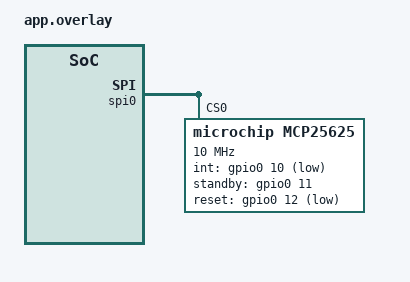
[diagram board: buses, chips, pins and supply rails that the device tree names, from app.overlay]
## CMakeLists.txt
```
# Copyright (c) 2026 CANBusRP2040 contributors
# SPDX-License-Identifier: Apache-2.0

cmake_minimum_required(VERSION 3.20.0)

find_package(Zephyr REQUIRED HINTS $ENV{ZEPHYR_BASE})
project(slcan_test)

target_sources(app PRIVATE src/main.c)
```

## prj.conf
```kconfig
CONFIG_ZTEST=y
CONFIG_CAN=y
CONFIG_EMUL=y
CONFIG_GPIO=y
CONFIG_SPI=y
CONFIG_SLCAN=y
CONFIG_SLCAN_RX_QUEUE_SIZE=4
CONFIG_LOG=y
CONFIG_ZTEST_THREAD_PRIORITY=0
CONFIG_CAN_ACCEPT_RTR=y
```

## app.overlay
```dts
/*
 * Copyright (c) 2026 CANBusRP2040 contributors
 *
 * SPDX-License-Identifier: Apache-2.0
 */

#include <zephyr/dt-bindings/gpio/gpio.h>

/ {
	chosen {
		zephyr,canbus = &mcp25625;
	};
};

&spi0 {
	mcp25625: can@0 {
		compatible = "microchip,mcp25625";
		reg = <0>;
		spi-max-frequency = <10000000>;
		osc-freq = <16000000>;
		int-gpios = <&gpio0 10 GPIO_ACTIVE_LOW>;
		standby-gpios = <&gpio0 11 GPIO_ACTIVE_HIGH>;
		reset-gpios = <&gpio0 12 GPIO_ACTIVE_LOW>;
		bitrate = <1000000>;
	};
};
```

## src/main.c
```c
/*
 * Copyright (c) 2026 CANBusRP2040 contributors
 *
 * SPDX-License-Identifier: Apache-2.0
 *
 * Tests of the slcan protocol engine, running on top of the MCP25625 driver
 * and its emulator.
 */

#include <stdio.h>
#include <string.h>

#include <zephyr/drivers/can.h>
#include <zephyr/drivers/emul.h>
#include <zephyr/kernel.h>
#include <zephyr/ztest.h>

#include <canbus_rp2040/drivers/can/mcp25625_emul.h>
#include <canbus_rp2040/slcan.h>

#define MCP25625_NODE DT_NODELABEL(mcp25625)

#define REG_CANCTRL 0x0F
#define REG_CNF1    0x2A

#define OPMODE_NORMAL      0
#define OPMODE_LISTEN_ONLY 3
#define OPMODE_CONFIG      4

static const struct device *const can_dev = DEVICE_DT_GET(MCP25625_NODE);
static const struct emul *const emul = EMUL_DT_GET(MCP25625_NODE);

static struct slcan slcan;
static char out[1024];
static size_t out_len;
static int events[SLCAN_EVENT_ERROR + 1];

static void capture(const uint8_t *data, size_t len, void *user_data)
{
	ARG_UNUSED(user_data);

	zassert_true(out_len + len < sizeof(out), "output buffer overflow");
	memcpy(&out[out_len], data, len);
	out_len += len;
	out[out_len] = '\0';
}

static void event_cb(enum slcan_event event, void *user_data)
{
	ARG_UNUSED(user_data);

	events[event]++;
}

static void cmd(const char *str)
{
	slcan_receive(&slcan, (const uint8_t *)str, strlen(str));
}

static void clear_output(void)
{
	out_len = 0;
	out[0] = '\0';
}

#define expect_output(expected)                                                                    \
	do {                                                                                       \
		zassert_str_equal(out, expected, "got \"%s\"", out);                               \
		clear_output();                                                                    \
	} while (0)

/* Wait for the driver to deliver frames and forward them */
static void process(void)
{
	k_msleep(5);
	(void)slcan_process(&slcan);
}

static void *slcan_setup(void)
{
	zassert_true(device_is_ready(can_dev));
	zassert_ok(slcan_init(&slcan, can_dev, capture, NULL));
	slcan_set_event_callback(&slcan, event_cb, NULL);

	return NULL;
}

static void slcan_before(void *fixture)
{
	ARG_UNUSED(fixture);

	cmd("C\rS8\rZ0\rA1\rM0\r");
	mcp25625_emul_set_tx_ack(emul, true);
	mcp25625_emul_set_error_counters(emul, 0, 0);
	mcp25625_emul_clear_tx_frames(emul);
	(void)slcan_process(&slcan);
	clear_output();
	memset(events, 0, sizeof(events));
}

ZTEST(slcan, test_format_frame)
{
	const struct {
		struct can_frame frame;
		bool ts;
		uint16_t ts_ms;
		const char *expected;
	} cases[] = {
		{{.id = 0x123, .dlc = 2, .data = {0xDE, 0xAD}}, false, 0, "t1232DEAD\r"},
		{{.id = 0x7FF, .dlc = 0}, false, 0, "t7FF0\r"},
		{{.id = 0x0204ABCD,
		  .flags = CAN_FRAME_IDE,
		  .dlc = 8,
		  .data = {0, 1, 2, 3, 0xFC, 0xFD, 0xFE, 0xFF}},
		 false,
		 0,
		 "T0204ABCD800010203FCFDFEFF\r"},
		{{.id = 0x12, .flags = CAN_FRAME_RTR, .dlc = 4}, false, 0, "r0124\r"},
		{{.id = 0x1, .flags = CAN_FRAME_IDE | CAN_FRAME_RTR, .dlc = 0},
		 false,
		 0,
		 "R000000010\r"},
		{{.id = 0x123, .dlc = 1, .data = {0x55}}, true, 59999, "t123155EA5F\r"},
	};
	char buf[SLCAN_MTU + 1];

	for (size_t i = 0; i < ARRAY_SIZE(cases); i++) {
		int len = slcan_format_frame(&cases[i].frame, cases[i].ts, cases[i].ts_ms, buf,
					     sizeof(buf));

		zassert_equal(len, strlen(cases[i].expected), "case %zu", i);
		zassert_str_equal(buf, cases[i].expected, "case %zu: \"%s\"", i, buf);
	}

	/* The longest message fits into SLCAN_MTU */
	const struct can_frame longest = {.id = 0x1FFFFFFF, .flags = CAN_FRAME_IDE, .dlc = 8};

	zassert_true(slcan_format_frame(&longest, true, 0, buf, sizeof(buf)) > 0);
	zassert_equal(slcan_format_frame(&longest, true, 0, buf, 10), -ENOSPC);
}

ZTEST(slcan, test_parse_frame)
{
	struct can_frame f;

	zassert_ok(slcan_parse_frame("t1232DEAD", 9, &f));
	zassert_equal(f.id, 0x123);
	zassert_equal(f.flags, 0);
	zassert_equal(f.dlc, 2);
	zassert_equal(f.data[0], 0xDE);
	zassert_equal(f.data[1], 0xAD);

	zassert_ok(slcan_parse_frame("T1FFFFFFF1ab", 12, &f));
	zassert_equal(f.id, 0x1FFFFFFF);
	zassert_equal(f.flags, CAN_FRAME_IDE);
	zassert_equal(f.data[0], 0xAB);

	zassert_ok(slcan_parse_frame("r7FF8", 5, &f));
	zassert_equal(f.flags, CAN_FRAME_RTR);
	zassert_equal(f.dlc, 8);

	zassert_ok(slcan_parse_frame("R000000010", 10, &f));
	zassert_equal(f.flags, CAN_FRAME_IDE | CAN_FRAME_RTR);

	/* Malformed commands */
	static const char *const invalid[] = {
		"t123",       /* missing DLC */
		"t1239",      /* DLC out of range */
		"t1232DEA",   /* too short */
		"t1232DEADB", /* too long */
		"t8000",      /* standard ID out of range */
		"T200000000", /* extended ID out of range */
		"t12G0",      /* invalid hex digit */
		"t1231XX",    /* invalid data */
		"r12310",     /* data in a remote frame */
		"x1230",      /* unknown frame type */
	};

	for (size_t i = 0; i < ARRAY_SIZE(invalid); i++) {
		zassert_equal(slcan_parse_frame(invalid[i], strlen(invalid[i]), &f), -EINVAL,
			      "accepted \"%s\"", invalid[i]);
	}
}

ZTEST(slcan, test_btr_conversion)
{
	uint32_t bitrate;
	uint16_t sp;

	/* Common Lawicel values for a 16 MHz SJA1000 */
	zassert_ok(slcan_btr_to_bitrate(0x03, 0x1C, &bitrate, &sp));
	zassert_equal(bitrate, 125000);
	zassert_equal(sp, 875);

	zassert_ok(slcan_btr_to_bitrate(0x00, 0x1C, &bitrate, &sp));
	zassert_equal(bitrate, 500000);

	zassert_ok(slcan_btr_to_bitrate(0x00, 0x14, &bitrate, &sp));
	zassert_equal(bitrate, 1000000);
	zassert_equal(sp, 750);

	/* 8 MHz / (3 * 7) is not an integer bitrate */
	zassert_equal(slcan_btr_to_bitrate(0x02, 0x04, &bitrate, &sp), -EINVAL);
}

ZTEST(slcan, test_commands_while_closed)
{
	cmd("V\r");
	expect_output("V0101\r");

	cmd("N\r");
	expect_output("N0000\r");

	/* Status and transmission require an open channel */
	cmd("F\r");
	expect_output("\a");
	cmd("t1230\r");
	expect_output("\a");

	/* Unknown and malformed commands */
	cmd("X\r");
	expect_output("\a");
	cmd("S9\r");
	expect_output("\a");
	cmd("S\r");
	expect_output("\a");
	cmd("Z2\r");
	expect_output("\a");

	/* Configuration */
	cmd("S4\r");
	expect_output("\r");
	cmd("s031C\r");
	expect_output("\r");
	cmd("M00000000\rmFFFFFFFF\r");
	expect_output("\r\r");
	cmd("m00000000\r");
	expect_output("\a");

	/* Closing a closed channel and empty lines */
	cmd("C\r\r\n");
	expect_output("\r");
}

ZTEST(slcan, test_open_configures_controller)
{
	cmd("S6\rO\r");
	expect_output("\r\r");
	zassert_true(slcan_is_open(&slcan));
	zassert_equal(mcp25625_emul_get_opmode(emul), OPMODE_NORMAL);
	zassert_equal(events[SLCAN_EVENT_OPEN], 1);

	/* 500 kbit/s from a 16 MHz oscillator: 16 time quanta, prescaler 1 */
	zassert_equal(mcp25625_emul_get_reg(emul, REG_CNF1) & 0x3F, 0);

	/* No reconfiguration while open */
	cmd("O\rS8\rZ1\rA0\rM1\r");
	expect_output("\a\a\a\a\a");

	cmd("C\r");
	expect_output("\r");
	zassert_false(slcan_is_open(&slcan));
	zassert_equal(mcp25625_emul_get_opmode(emul), OPMODE_CONFIG);
	zassert_equal(events[SLCAN_EVENT_CLOSE], 1);

	/* SJA1000 bit timing: 125 kbit/s */
	cmd("s031C\rO\r");
	expect_output("\r\r");
	zassert_equal(mcp25625_emul_get_reg(emul, REG_CNF1) & 0x3F, 3);
}

ZTEST(slcan, test_transmit)
{
	struct can_frame f;

	cmd("O\r");
	expect_output("\r");

	cmd("T0204ABCD2AA55\r");
	expect_output("\r");
	k_msleep(5);
	zassert_ok(mcp25625_emul_get_tx_frame(emul, &f));
	zassert_equal(f.id, 0x0204ABCD);
	zassert_equal(f.flags, CAN_FRAME_IDE);
	zassert_equal(f.dlc, 2);
	zassert_equal(f.data[0], 0xAA);
	zassert_equal(f.data[1], 0x55);

	cmd("r1238\r");
	expect_output("\r");
	k_msleep(5);
	zassert_ok(mcp25625_emul_get_tx_frame(emul, &f));
	zassert_equal(f.id, 0x123);
	zassert_equal(f.flags, CAN_FRAME_RTR);
	zassert_equal(f.dlc, 8);

	/* Malformed frame */
	cmd("t12\r");
	expect_output("\a");

	zassert_equal(events[SLCAN_EVENT_TX], 2);
}

ZTEST(slcan, test_receive)
{
	const struct can_frame std = {.id = 0x123, .dlc = 2, .data = {0xDE, 0xAD}};
	const struct can_frame ext = {
		.id = 0x02041401,
		.flags = CAN_FRAME_IDE,
		.dlc = 3,
		.data = {1, 2, 3},
	};
	const struct can_frame rtr = {.id = 0x10, .flags = CAN_FRAME_RTR, .dlc = 1};

	/* Frames are not forwarded while the channel is closed */
	zassert_equal(mcp25625_emul_rx_frame(emul, &std), -EACCES);

	cmd("O\r");
	expect_output("\r");

	zassert_ok(mcp25625_emul_rx_frame(emul, &std));
	process();
	zassert_ok(mcp25625_emul_rx_frame(emul, &ext));
	process();
	zassert_ok(mcp25625_emul_rx_frame(emul, &rtr));
	process();

	expect_output("t1232DEAD\rT020414013010203\rr0101\r");
	zassert_equal(events[SLCAN_EVENT_RX], 3);
}

ZTEST(slcan, test_receive_timestamps)
{
	const struct can_frame std = {.id = 0x321, .dlc = 1, .data = {0x42}};
	unsigned int ts;

	cmd("Z1\rO\r");
	expect_output("\r\r");

	zassert_ok(mcp25625_emul_rx_frame(emul, &std));
	process();

	zassert_equal(out_len, strlen("t321142TTTT\r"), "got \"%s\"", out);
	zassert_mem_equal(out, "t321142", 7);
	zassert_equal(sscanf(&out[7], "%4x", &ts), 1);
	zassert_true(ts < 60000, "timestamp %u out of range", ts);
	clear_output();
}

ZTEST(slcan, test_listen_only)
{
	cmd("L\r");
	expect_output("\r");
	zassert_equal(mcp25625_emul_get_opmode(emul), OPMODE_LISTEN_ONLY);

	cmd("t1230\r");
	expect_output("\a");

	/* After closing, O opens in normal mode again */
	cmd("C\rO\r");
	expect_output("\r\r");
	zassert_equal(mcp25625_emul_get_opmode(emul), OPMODE_NORMAL);

	/* CANable silent mode */
	cmd("C\rM1\rO\r");
	expect_output("\r\r\r");
	zassert_equal(mcp25625_emul_get_opmode(emul), OPMODE_LISTEN_ONLY);
}

ZTEST(slcan, test_one_shot_and_status)
{
	cmd("A0\rO\r");
	expect_output("\r\r");
	zassert_true((mcp25625_emul_get_reg(emul, REG_CANCTRL) & BIT(3)) != 0, "OSM not set");

	cmd("F\r");
	expect_output("F00\r");

	/* Without acknowledgement the single attempt fails with a bus error */
	mcp25625_emul_set_tx_ack(emul, false);
	cmd("t1230\r");
	expect_output("\r");
	k_msleep(10);

	cmd("F\r");
	expect_output("F80\r");

	/* Flags are cleared by reading them */
	cmd("F\r");
	expect_output("F00\r");
}

ZTEST(slcan, test_state_reports)
{
	cmd("O\r");
	expect_output("\r");

	mcp25625_emul_set_error_counters(emul, 100, 0);
	process();
	/* s<state><rx errors><tx errors> */
	expect_output("sw000100\r");
	zassert_equal(events[SLCAN_EVENT_ERROR], 1);

	cmd("F\r");
	expect_output("F04\r");

	mcp25625_emul_set_error_counters(emul, 256, 0);
	process();
	expect_output("sb000255\r");

	mcp25625_emul_set_error_counters(emul, 0, 0);
	k_msleep(100);
	(void)slcan_process(&slcan);
	expect_output("sa000000\r");
}

ZTEST(slcan, test_receive_overrun)
{
	struct can_frame f = {.id = 0x100, .dlc = 1};

	cmd("O\r");
	expect_output("\r");

	/* CONFIG_SLCAN_RX_QUEUE_SIZE is 4: the last two frames are dropped */
	for (int i = 0; i < 6; i++) {
		f.data[0] = (uint8_t)i;
		zassert_ok(mcp25625_emul_rx_frame(emul, &f));
		k_msleep(1);
	}

	process();
	expect_output("e1o\rt100100\rt100101\rt100102\rt100103\r");

	cmd("F\r");
	expect_output("F09\r");
}

ZTEST(slcan, test_line_overflow)
{
	cmd("t1230000000000000000000000000000000000000000\r");
	expect_output("\a");

	cmd("V\r");
	expect_output("V0101\r");
}

ZTEST_SUITE(slcan, NULL, slcan_setup, slcan_before, NULL, NULL);
```
